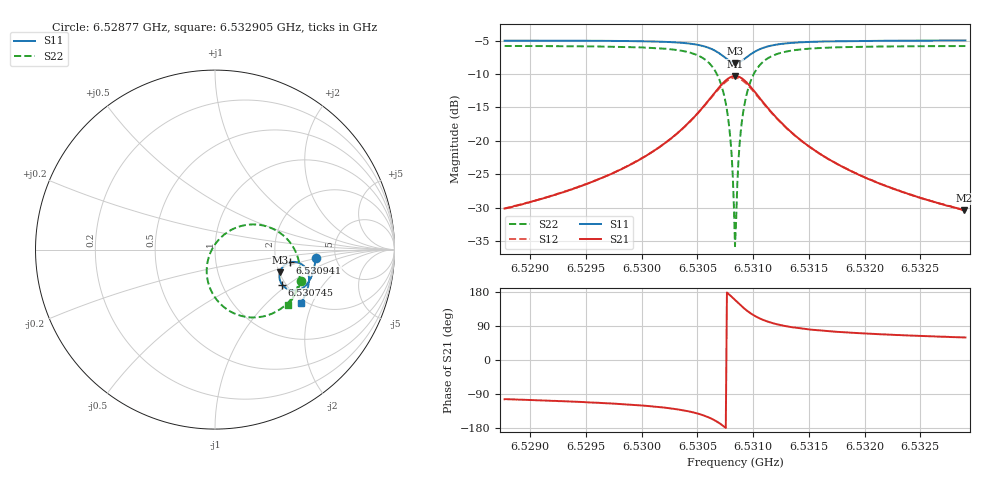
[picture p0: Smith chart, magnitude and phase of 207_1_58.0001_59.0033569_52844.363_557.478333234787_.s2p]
#  HZ  S  RI  R  50.00
! Rohde & Schwarz Vector Network Analyzer
! Rohde-Schwarz,ZNB20-2Port,1311601062101988,3.16
! Created: UTC 3/21/2024, 12:59:29 AM
! freq[Hz]  re:S11  im:S11  re:S21  im:S21  re:S12  im:S12  re:S22  im:S22
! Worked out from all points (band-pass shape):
!   401 points, 6.52877 GHz to 6.532905 GHz, reference 50 ohm
!   highest |S21| = -10.29 dB at 6.530838 GHz (marker M1); lowest = -30.4 dB at 6.532894 GHz (marker M2)
!   |S21| within 3 dB of the highest: 6.530632 GHz to 6.531045 GHz (413.1 kHz wide, 0.00633 % of centre)
!   lowest |S11| = -8.3 dB at 6.530838 GHz (marker M3), VSWR 2.24, Z = 101 - j29.8 ohm
!   |S11| at or under -10 dB: nowhere
!   |S22| runs from -35.8 to -5.8 dB; largest |S21 - S12| = 0.012
!   S11 on the Smith chart (normalised r, x): 6.52877 GHz: 3.49, -0.50; 6.530745 GHz: 1.91, -0.91; 6.530941 GHz: 2.37, -0.41; 6.532905 GHz: 1.91, -1.66
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6.5287704e9  0.5605 -0.0493  -0.00731 -0.0302  -0.00779 -0.0302  0.4819 -0.1766
6.5294629e9  0.5512 -0.1071  -0.0163 -0.043  -0.0175 -0.0426  0.45 -0.2401
6.5301554e9  0.5242 -0.1766  -0.05 -0.0737  -0.0521 -0.0725  0.3677 -0.3289
6.5303931e9  0.4977 -0.207  -0.0897 -0.0933  -0.0924 -0.0902  0.2869 -0.368
6.5305689e9  0.4544 -0.2269  -0.1575 -0.0998  -0.16 -0.0933  0.161 -0.3729
6.5306722e9  0.4096 -0.2223  -0.2268 -0.0735  -0.2261 -0.064  0.0446 -0.316
6.5307446e9  0.3743 -0.1956  -0.2781 -0.0152  -0.2723 -0.00516  -0.0304 -0.2082
6.5307859e9  0.361 -0.1679  -0.294 0.0375  -0.2851 0.0458  -0.0463 -0.1177
6.5308066e9  0.3585 -0.1516  -0.2945 0.0676  -0.2844 0.0741  -0.0415 -0.0685
6.5308273e9  0.3595 -0.1346  -0.2893 0.0978  -0.2784 0.1025  -0.0267 -0.0199
6.5308376e9  0.3614 -0.1262  -0.2843 0.1127  -0.2733 0.1164  -0.0159 0.00343
6.5308479e9  0.3642 -0.1181  -0.2778 0.1268  -0.2668 0.1296  -0.00248 0.0254
6.5308583e9  0.3678 -0.1104  -0.2701 0.1402  -0.2593 0.1422  0.0127 0.0458
6.5308789e9  0.3773 -0.0963  -0.2513 0.1642  -0.2409 0.1644  0.0482 0.0814
6.5308893e9  0.3829 -0.0904  -0.2403 0.1747  -0.2305 0.1739  0.0678 0.096
6.530941e9  0.4157 -0.0716  -0.1803 0.2066  -0.1733 0.2037  0.173 0.1373
6.5310133e9  0.4586 -0.071  -0.1051 0.2089  -0.1012 0.2057  0.2992 0.1258
6.5311167e9  0.4963 -0.0927  -0.0405 0.1779  -0.0386 0.1763  0.403 0.0575
6.5315301e9  0.5238 -0.1719  0.0154 0.086  0.0165 0.0857  0.4729 -0.135
6.5322226e9  0.5064 -0.2436  0.0176 0.0414  0.0183 0.041  0.4432 -0.2505
6.5328945e9  0.4814 -0.2946  0.0154 0.0259  0.016 0.0259  0.4086 -0.3094
6.5329048e9  0.4811 -0.2952  0.0153 0.026  0.016 0.0257  0.408 -0.3102
